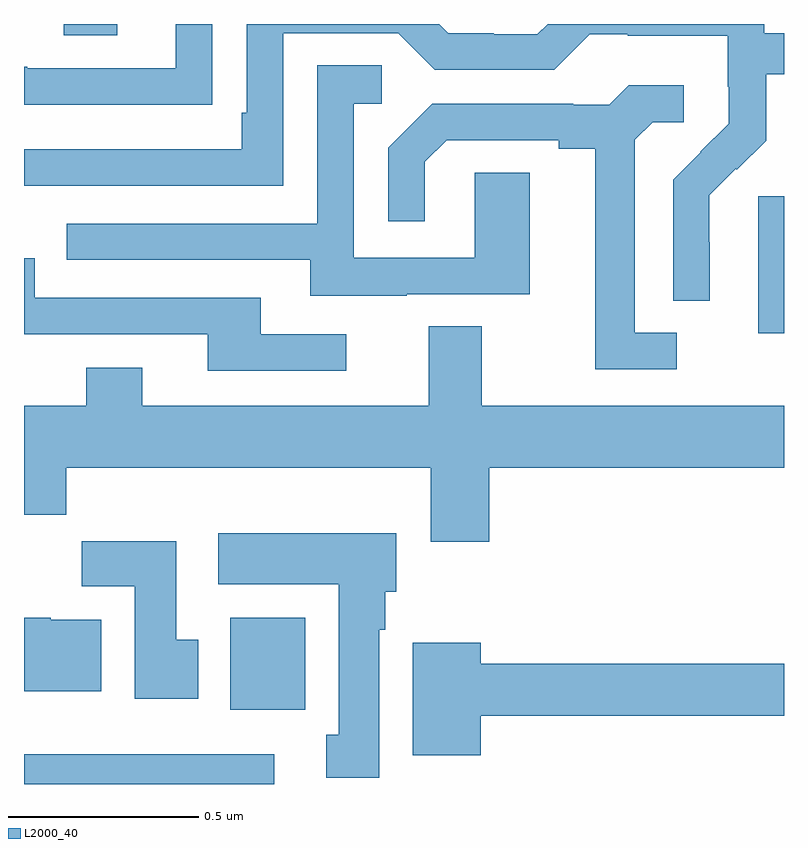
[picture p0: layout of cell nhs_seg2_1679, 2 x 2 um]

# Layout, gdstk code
import gdstk
lib = gdstk.Library(unit=1e-6, precision=1e-09)
def R(c, l, rs):  # rectangles x0, y0, x1, y1
    for r in rs: c.add(gdstk.rectangle(r[:2], r[2:], *l))
def P(c, l, *ps):  # polygons
    for p in ps: c.add(gdstk.Polygon(p, *l))
L2000_40 = (2000, 40)

nhs_seg2_1679 = lib.new_cell('nhs_seg2_1679')
R(nhs_seg2_1679, L2000_40, [(131,650.8,131.659,650.878), (131.543,650.996,131.74,651.238), (132.932,651.986,133,652.347), (131.105,652.77,131.245,652.8)])
P(nhs_seg2_1679, L2000_40, [(131.393,652.588),(131.495,652.588),(131.495,652.8),(131.399,652.8),(131.399,652.683),(131.009,652.683),(131.009,652.688),(131,652.688),(131,652.587),(131.393,652.587)],
  [(132.804,652.226),(132.803,652.226),(132.803,652.349),(132.873,652.419),(132.876,652.416),(132.953,652.493),(132.953,652.668),(133,652.668),(133,652.776),(132.948,652.776),(132.948,652.8),(132.378,652.8),(132.351,652.773),(132.236,652.773),(132.236,652.776),(132.117,652.776),(132.093,652.8),(131.586,652.8),(131.586,652.567),(131.573,652.567),(131.573,652.47),(131,652.47),(131,652.374),(131.682,652.374),(131.682,652.776),(131.985,652.776),(132.081,652.68),(132.396,652.68),(132.489,652.773),(132.589,652.773),(132.589,652.769),(132.852,652.769),(132.852,652.635),(132.854,652.635),(132.854,652.538),(132.78,652.464),(132.781,652.463),(132.708,652.39),(132.708,652.072),(132.804,652.072)],
  [(132.007,652.089),(132.331,652.089),(132.331,652.409),(132.186,652.409),(132.186,652.185),(131.868,652.185),(131.868,652.59),(131.941,652.59),(131.941,652.691),(131.772,652.691),(131.772,652.275),(131.113,652.275),(131.113,652.179),(131.753,652.179),(131.753,652.085),(132.007,652.085)],
  [(132.718,651.987),(132.607,651.987),(132.607,652.495),(132.654,652.542),(132.736,652.542),(132.736,652.639),(132.592,652.639),(132.54,652.587),(132.446,652.587),(132.446,652.59),(132.074,652.59),(131.958,652.474),(131.958,652.281),(132.055,652.281),(132.055,652.437),(132.112,652.494),(132.407,652.494),(132.407,652.472),(132.503,652.472),(132.503,651.891),(132.718,651.891)],
  [(131.848,651.984),(131.623,651.984),(131.623,652.08),(131.028,652.08),(131.028,652.183),(131,652.183),(131,651.984),(131.483,651.984),(131.483,651.888),(131.848,651.888)],
  [(132.224,651.632),(133,651.632),(133,651.796),(132.205,651.796),(132.205,652.004),(132.065,652.004),(132.065,651.796),(131.311,651.796),(131.311,651.895),(131.164,651.895),(131.164,651.796),(131,651.796),(131,651.508),(131.111,651.508),(131.111,651.632),(132.071,651.632),(132.071,651.438),(132.224,651.438)],
  [(131.935,651.206),(131.95,651.206),(131.95,651.306),(131.98,651.306),(131.98,651.46),(131.511,651.46),(131.511,651.326),(131.828,651.326),(131.828,650.93),(131.795,650.93),(131.795,650.817),(131.935,650.817)],
  [(131.458,651.18),(131.401,651.18),(131.401,651.439),(131.152,651.439),(131.152,651.32),(131.291,651.32),(131.291,651.024),(131.458,651.024)],
  [(131.203,651.232),(131.07,651.232),(131.07,651.238),(131,651.238),(131,651.044),(131.203,651.044)],
  [(132.202,650.98),(133,650.98),(133,651.116),(132.202,651.116),(132.202,651.172),(132.023,651.172),(132.023,650.876),(132.202,650.876)])

lib.write_gds('nhs_seg2_1679.gds')
